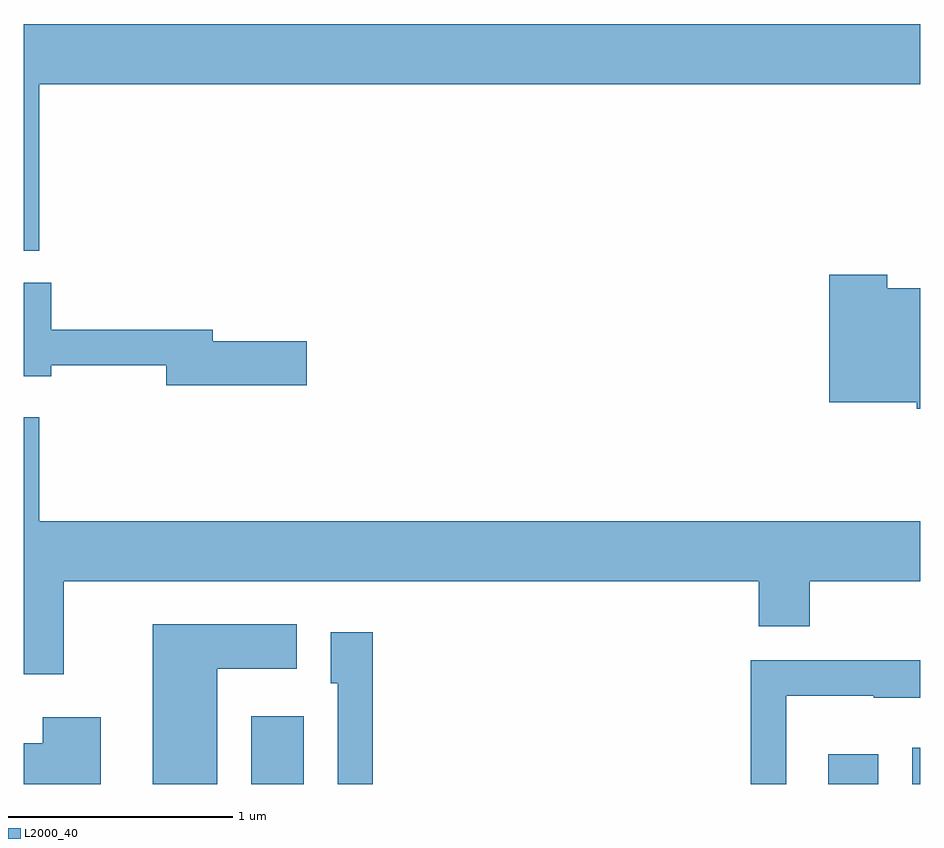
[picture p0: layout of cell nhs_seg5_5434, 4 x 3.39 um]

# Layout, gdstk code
import gdstk
lib = gdstk.Library(unit=1e-6, precision=1e-09)
def R(c, l, rs):  # rectangles x0, y0, x1, y1
    for r in rs: c.add(gdstk.rectangle(r[:2], r[2:], *l))
def P(c, l, *ps):  # polygons
    for p in ps: c.add(gdstk.Polygon(p, *l))
L2000_40 = (2000, 40)

nhs_seg5_5434 = lib.new_cell('nhs_seg5_5434')
R(nhs_seg5_5434, L2000_40, [(346.626,1498.072,346.859,1498.374), (349.201,1498.072,349.424,1498.204), (349.576,1498.072,349.611,1498.234)])
P(nhs_seg5_5434, L2000_40, [(345.679,1501.196),(349.611,1501.196),(349.611,1501.464),(345.611,1501.464),(345.611,1500.453),(345.679,1500.453)],
  [(349.611,1500.284),(349.464,1500.284),(349.464,1500.344),(349.206,1500.344),(349.206,1499.776),(349.596,1499.776),(349.596,1499.746),(349.611,1499.746)],
  [(346.874,1500.049),(346.454,1500.049),(346.454,1500.099),(345.734,1500.099),(345.734,1500.309),(345.611,1500.309),(345.611,1499.891),(345.734,1499.891),(345.734,1499.941),(346.246,1499.941),(346.246,1499.851),(346.874,1499.851)],
  [(345.789,1498.976),(348.891,1498.976),(348.891,1498.776),(349.119,1498.776),(349.119,1498.976),(349.611,1498.976),(349.611,1499.244),(345.679,1499.244),(345.679,1499.708),(345.611,1499.708),(345.611,1498.561),(345.789,1498.561)],
  [(346.474,1498.586),(346.829,1498.586),(346.829,1498.784),(346.186,1498.784),(346.186,1498.072),(346.474,1498.072)],
  [(347.169,1498.749),(346.981,1498.749),(346.981,1498.521),(347.011,1498.521),(347.011,1498.072),(347.169,1498.072)],
  [(349.014,1498.466),(349.405,1498.466),(349.405,1498.456),(349.611,1498.456),(349.611,1498.624),(348.856,1498.624),(348.856,1498.072),(349.014,1498.072)],
  [(345.954,1498.369),(345.696,1498.369),(345.696,1498.254),(345.611,1498.254),(345.611,1498.072),(345.954,1498.072)])

lib.write_gds('nhs_seg5_5434.gds')
